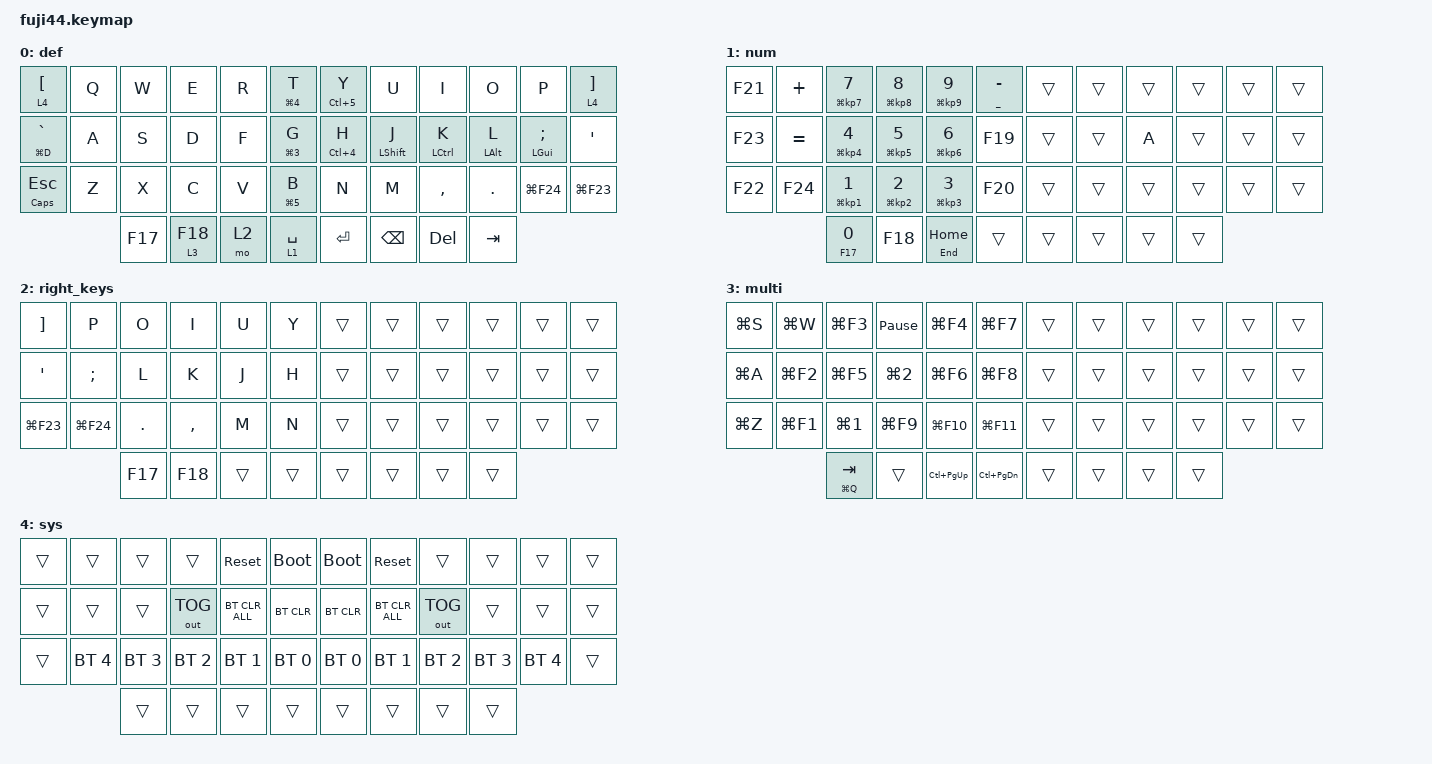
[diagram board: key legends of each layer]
/*
 * Copyright (c) 2020 The ZMK Contributors
 *
 * SPDX-License-Identifier: MIT
 */

#include <behaviors.dtsi>
#include <dt-bindings/zmk/bt.h>
#include <dt-bindings/zmk/keys.h>
#include <dt-bindings/zmk/outputs.h>

/ {
    combos { compatible = "zmk,combos"; };

    behaviors {
        ss_hs_modmorph: ss_hs_modmorph {
            compatible = "zmk,behavior-mod-morph";
            label = "SS_HS_MODMORPH";
            bindings = <&kp M>, <&kp RIGHT_BRACKET>;

            #binding-cells = <0>;
            mods = <(MOD_LSFT|MOD_RSFT)>;
        };

        kh_hs_tapdance: kh_hs_tapdance {
            compatible = "zmk,behavior-tap-dance";
            label = "KH_HS_TAPDANCE";
            #binding-cells = <0>;
            tapping-term-ms = <200>;
            bindings = <&kp LEFT_BRACKET>, <&kp RIGHT_BRACKET>;
        };

        hrm: hrm {
            compatible = "zmk,behavior-hold-tap";
            #binding-cells = <2>;
            flavor = "tap-preferred";
            tapping-term-ms = <200>;
            quick-tap-ms = <200>;
            require-prior-idle-ms = <125>;
            bindings = <&kp>, <&kp>;
        };
    };

    keymap {
        compatible = "zmk,keymap";

        def {
            bindings = <
&lt 4 LEFT_BRACKET  &kp Q  &kp W    &kp E      &kp R  &mt LG(NUMBER_4) T    &mt LC(N5) Y        &kp U             &kp I        &kp O           &kp P              &lt 4 RIGHT_BRACKET
&mt LG(D) GRAVE     &kp A  &kp S    &kp D      &kp F  &mt LG(NUMBER_3) G    &mt LC(NUMBER_4) H  &mt LEFT_SHIFT J  &mt LCTRL K  &mt LEFT_ALT L  &mt LEFT_GUI SEMI  &kp SQT
&mt CAPS ESCAPE     &kp Z  &kp X    &kp C      &kp V  &mt LG(NUMBER_5) B    &kp N               &kp M             &kp COMMA    &kp PERIOD      &kp LG(F24)        &kp LG(F23)
                           &kp F17  &lt 3 F18  &mo 2  &lt 1 SPACE           &kp ENTER           &kp BACKSPACE     &kp DELETE   &kp TAB
            >;
        };

        num {
            bindings = <
&kp F21  &kp PLUS   &mt LG(KP_NUMBER_7) NUMBER_7  &mt LG(KP_NUMBER_8) NUMBER_8  &mt LG(KP_NUMBER_9) NUMBER_9  &mt UNDERSCORE MINUS    &trans  &trans  &trans  &trans  &trans  &trans
&kp F23  &kp EQUAL  &mt LG(KP_NUMBER_4) NUMBER_4  &mt LG(KP_NUMBER_5) NUMBER_5  &mt LG(KP_NUMBER_6) NUMBER_6  &kp F19                 &trans  &trans  &kp A   &trans  &trans  &trans
&kp F22  &kp F24    &mt LG(KP_NUMBER_1) NUMBER_1  &mt LG(KP_NUMBER_2) NUMBER_2  &mt LG(KP_NUMBER_3) NUMBER_3  &kp F20                 &trans  &trans  &trans  &trans  &trans  &trans
                    &mt F17 NUMBER_0              &kp F18                       &mt END HOME                  &trans                  &trans  &trans  &trans  &trans
            >;
        };

        right_keys {
            bindings = <
&kp RIGHT_BRACKET  &kp P          &kp O       &kp I      &kp U   &kp Y     &trans  &trans  &trans  &trans  &trans  &trans
&kp SQT            &kp SEMICOLON  &kp L       &kp K      &kp J   &kp H     &trans  &trans  &trans  &trans  &trans  &trans
&kp LG(F23)        &kp LG(F24)    &kp PERIOD  &kp COMMA  &kp M   &kp N     &trans  &trans  &trans  &trans  &trans  &trans
                                  &kp F17     &kp F18    &trans  &trans    &trans  &trans  &trans  &trans
            >;
        };

        multi {
            bindings = <
&kp LG(S)  &kp LG(W)   &kp LG(F3)        &kp PAUSE_BREAK   &kp LG(F4)     &kp LG(F7)       &trans  &trans  &trans  &trans  &trans  &trans
&kp LG(A)  &kp LG(F2)  &kp LG(F5)        &kp LG(NUMBER_2)  &kp LG(F6)     &kp LG(F8)       &trans  &trans  &trans  &trans  &trans  &trans
&kp LG(Z)  &kp LG(F1)  &kp LG(NUMBER_1)  &kp LG(F9)        &kp LG(F10)    &kp LG(F11)      &trans  &trans  &trans  &trans  &trans  &trans
                       &mt LG(Q) TAB     &trans            &kp LC(PG_UP)  &kp LC(PG_DN)    &trans  &trans  &trans  &trans
            >;
        };

        sys {
            bindings = <
&trans  &trans        &trans        &trans        &sys_reset      &bootloader     &bootloader   &sys_reset      &trans        &trans        &trans        &trans
&trans  &trans        &trans        &out OUT_TOG  &bt BT_CLR_ALL  &bt BT_CLR      &bt BT_CLR    &bt BT_CLR_ALL  &out OUT_TOG  &trans        &trans        &trans
&trans  &bt BT_SEL 4  &bt BT_SEL 3  &bt BT_SEL 2  &bt BT_SEL 1    &bt BT_SEL 0    &bt BT_SEL 0  &bt BT_SEL 1    &bt BT_SEL 2  &bt BT_SEL 3  &bt BT_SEL 4  &trans
                      &trans        &trans        &trans          &trans          &trans        &trans          &trans        &trans
            >;
        };
    };
};
